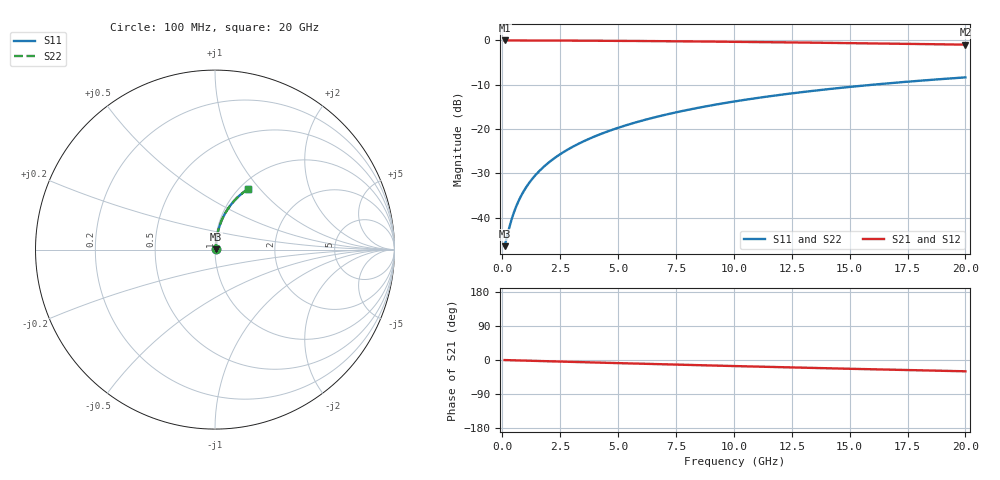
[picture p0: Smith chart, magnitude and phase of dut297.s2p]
! Touchstone file exported from HFSS 2024.1.0
!  File:  C:/UserFiles/LocalFiles/RDL_TSV_Batchsim/temp_RDL_top_297_1778690668.aedt
!  Generated:  12:46:43 AM May 14, 2026
!  Design:  RDL_top
!  Project:  temp_RDL_top_297_1778690668
!  Setup:  Setup1
!  Solution:  Sweep
! Variables:
!  dtsv = 10.80580581um
!  hbump = 3um
!  htsv = 58.44um
!  ldown = 100um
!  lrdl = 332.44um
!  p = 40
!  p1 = 48.86um
!  rhole = 1um
!  t = 450um
!  tdown = 3.915915916um
!  trdl = 2.67um
!  wdown = 15.38538539um
!  wrdl = 10.69um
# GHz S MA R 50.000000
! Terminal data exported
! Port[1] = Box2_T1
! Port[2] = Box2_T2
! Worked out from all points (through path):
!   200 points, 100 MHz to 20 GHz, reference 50 ohm
!   highest |S21| = -0.04 dB at 100 MHz (marker M1); lowest = -1.0 dB at 20 GHz (marker M2)
!   group delay of S21, straight-line fit = 4.14 ps
!   lowest |S11| = -46.5 dB at 100 MHz (marker M3), VSWR 1.01, Z = 50.4 + j0.214 ohm
!   |S11| at or under -10 dB: start of sweep to 16.05 GHz
!   |S22| runs from -46.5 to -8.4 dB; largest |S21 - S12| = 4e-15
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0.1  0.004753 26.5  0.9957 -0.2  0.9957 -0.2  0.004753 26.5
! Gamma 0 0 0 0
! Port Impedance 50 0 50 0
0.3  0.007677 55.4  0.9957 -0.5  0.9957 -0.5  0.007675 55.4
0.4  0.009492 62.2  0.9956 -0.7  0.9956 -0.7  0.009489 62.2
0.5  0.01139 66.7  0.9955 -0.9  0.9955 -0.9  0.01139 66.7
0.6  0.01334 69.9  0.9954 -1.0  0.9954 -1.0  0.01334 69.9
0.7  0.01532 72.2  0.9953 -1.2  0.9953 -1.2  0.01532 72.2
0.9  0.01933 75.3  0.9951 -1.5  0.9951 -1.5  0.01933 75.3
1.2  0.0254 78.0  0.9947 -2.0  0.9947 -2.0  0.0254 78.0
1.4  0.02946 79.1  0.9944 -2.3  0.9944 -2.3  0.02946 79.1
1.7  0.03556 80.1  0.994 -2.8  0.994 -2.8  0.03556 80.1
2.2  0.04573 81.1  0.9932 -3.7  0.9932 -3.7  0.04573 81.1
2.8  0.05796 81.5  0.992 -4.7  0.992 -4.7  0.05796 81.5
3.5  0.07225 81.5  0.9902 -5.8  0.9902 -5.8  0.07225 81.5
4.2  0.08655 81.2  0.9882 -6.9  0.9882 -6.9  0.08655 81.2
5  0.1029 80.6  0.9855 -8.2  0.9855 -8.2  0.1029 80.6
5.9  0.1213 79.7  0.982 -9.7  0.982 -9.7  0.1213 79.7
6.8  0.1396 78.8  0.9781 -11.1  0.9781 -11.1  0.1396 78.8
8.3  0.1699 77.0  0.9708 -13.4  0.9708 -13.4  0.1699 77.0
10.1  0.2056 74.7  0.9609 -16.1  0.9609 -16.1  0.2056 74.7
13.4  0.2686 70.3  0.9403 -20.9  0.9403 -20.9  0.2686 70.3
16.7  0.3275 65.8  0.9173 -25.5  0.9173 -25.5  0.3275 65.8
20  0.3816 61.6  0.8928 -29.8  0.8928 -29.8  0.3816 61.6
